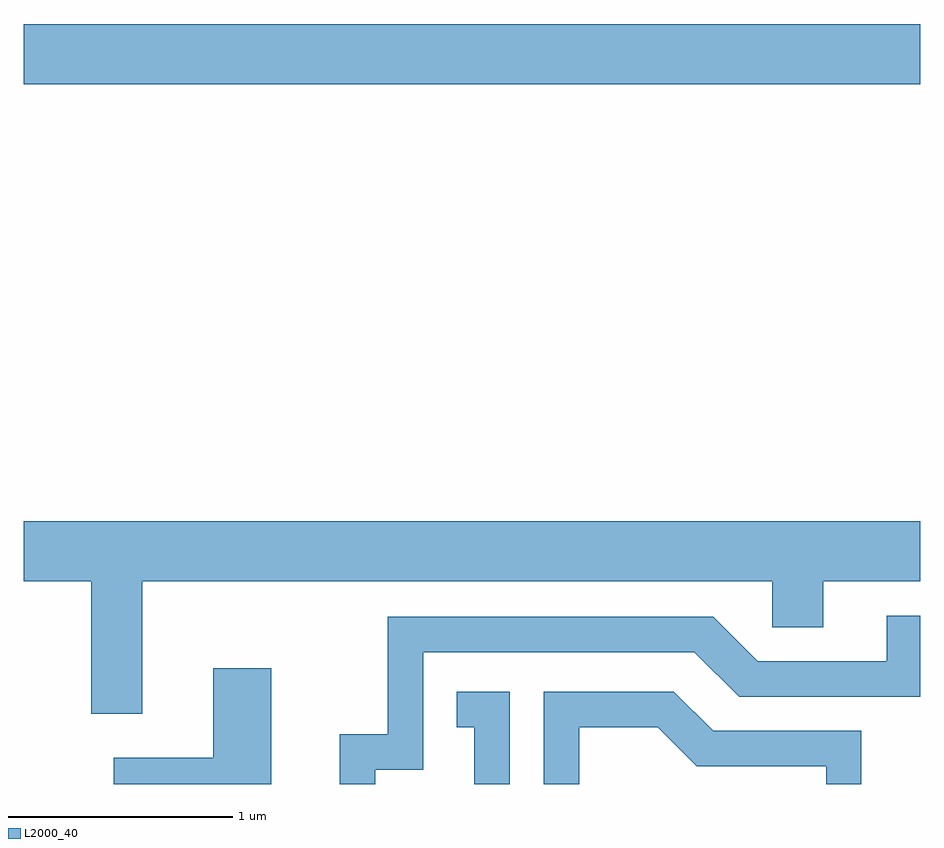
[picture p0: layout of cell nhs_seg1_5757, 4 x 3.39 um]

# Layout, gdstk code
import gdstk
lib = gdstk.Library(unit=1e-6, precision=1e-09)
def R(c, l, rs):  # rectangles x0, y0, x1, y1
    for r in rs: c.add(gdstk.rectangle(r[:2], r[2:], *l))
def P(c, l, *ps):  # polygons
    for p in ps: c.add(gdstk.Polygon(p, *l))
L2000_40 = (2000, 40)

nhs_seg1_5757 = lib.new_cell('nhs_seg1_5757')
R(nhs_seg1_5757, L2000_40, [(357.611,972.836,361.611,973.104)])
P(nhs_seg1_5757, L2000_40, [(358.139,970.616),(360.951,970.616),(360.951,970.411),(361.179,970.411),(361.179,970.616),(361.611,970.616),(361.611,970.884),(357.611,970.884),(357.611,970.616),(357.911,970.616),(357.911,970.026),(358.139,970.026)],
  [(359.179,969.776),(359.394,969.776),(359.394,970.301),(360.604,970.301),(360.804,970.101),(361.611,970.101),(361.611,970.464),(361.461,970.464),(361.461,970.259),(360.887,970.259),(360.687,970.459),(359.236,970.459),(359.236,969.934),(359.021,969.934),(359.021,969.712),(359.179,969.712)],
  [(358.714,970.229),(358.456,970.229),(358.456,969.829),(358.013,969.829),(358.013,969.712),(358.714,969.712)],
  [(359.779,970.124),(359.543,970.124),(359.543,969.966),(359.621,969.966),(359.621,969.712),(359.779,969.712)],
  [(360.089,969.966),(360.439,969.966),(360.614,969.791),(361.191,969.791),(361.191,969.712),(361.349,969.712),(361.349,969.949),(360.687,969.949),(360.512,970.124),(359.931,970.124),(359.931,969.712),(360.089,969.712)])

lib.write_gds('nhs_seg1_5757.gds')
